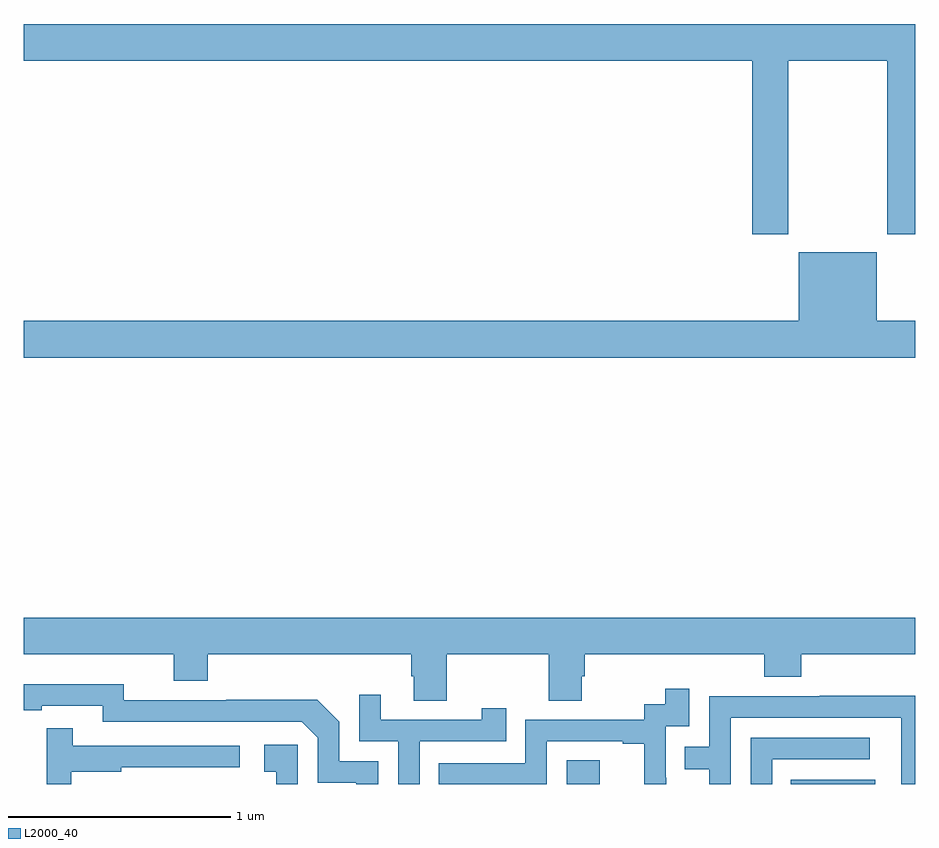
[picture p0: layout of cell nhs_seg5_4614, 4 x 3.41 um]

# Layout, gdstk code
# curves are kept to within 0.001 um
import gdstk
lib = gdstk.Library(unit=1e-6, precision=1e-09)
def R(c, l, rs):  # rectangles x0, y0, x1, y1
    for r in rs: c.add(gdstk.rectangle(r[:2], r[2:], *l))
def P(c, l, *ps):  # polygons
    for p in ps: c.add(gdstk.Polygon(p, *l))
L2000_40 = (2000, 40)

nhs_seg5_4614 = lib.new_cell('nhs_seg5_4614')
R(nhs_seg5_4614, L2000_40, [(383.436,902.799,383.584,902.905), (384.442,902.799,384.82,902.818)])
P(nhs_seg5_4614, L2000_40, [(384.429,906.044),(384.874,906.044),(384.874,905.265),(385,905.265),(385,906.208),(381,906.208),(381,906.044),(384.269,906.044),(384.269,905.265),(384.429,905.265)],
  [(385,904.876),(384.826,904.876),(384.826,905.185),(384.476,905.185),(384.476,904.876),(381,904.876),(381,904.712),(385,904.712)],
  [(382.899,903.38),(383.356,903.38),(383.356,903.172),(383.503,903.172),(383.503,903.282),(383.516,903.282),(383.516,903.38),(384.323,903.38),(384.323,903.281),(384.488,903.281),(384.488,903.38),(385,903.38),(385,903.544),(381,903.544),(381,903.38),(381.674,903.38),(381.674,903.263),(381.827,903.263),(381.827,903.38),(382.739,903.38),(382.739,903.282),(382.751,903.282),(382.751,903.172),(382.899,903.172)],
  [(382.59,902.901),(382.416,902.901),(382.416,903.078),(382.318,903.176),(381.91,903.176),(381.91,903.174),(381.45,903.174),(381.45,903.247),(381,903.246),(381,903.13),(381.082,903.13),(381.082,903.15),(381.354,903.15),(381.354,903.078),(382.248,903.078),(382.32,903.006),(382.32,902.805),(382.493,902.805),(382.493,902.799),(382.59,902.799)],
  [(383.346,902.991),(383.687,902.991),(383.687,902.979),(383.783,902.979),(383.783,902.799),(383.882,902.799),(383.882,902.828),(383.88,902.828),(383.88,903.057),(383.985,903.057),(383.985,903.226),(383.877,903.226),(383.877,903.156),(383.784,903.156),(383.784,903.087),(383.25,903.087),(383.25,902.892),(382.861,902.892),(382.861,902.799),(383.346,902.799)],
  [(382.776,902.991),(383.165,902.991),(383.165,903.139),(383.054,903.139),(383.054,903.087),(382.603,903.087),(382.603,903.199),(382.506,903.199),(382.506,902.991),(382.68,902.991),(382.68,902.799),(382.776,902.799)],
  [(384.171,903.096),(384.936,903.096),(384.936,902.799),(385,902.799),(385,903.194),(384.571,903.194),(384.571,903.192),(384.075,903.192),(384.075,902.967),(383.965,902.967),(383.965,902.866),(384.075,902.866),(384.075,902.799),(384.171,902.799)],
  [(381.214,902.854),(381.437,902.854),(381.437,902.874),(381.97,902.874),(381.97,902.97),(381.221,902.97),(381.221,903.049),(381.104,903.049),(381.104,902.799),(381.214,902.799)],
  [(384.357,902.91),(384.796,902.91),(384.796,903.006),(384.261,903.006),(384.261,902.799),(384.357,902.799)],
  [(382.23,902.974),(382.08,902.974),(382.08,902.853),(382.133,902.853),(382.133,902.799),(382.23,902.799)])

lib.write_gds('nhs_seg5_4614.gds')
